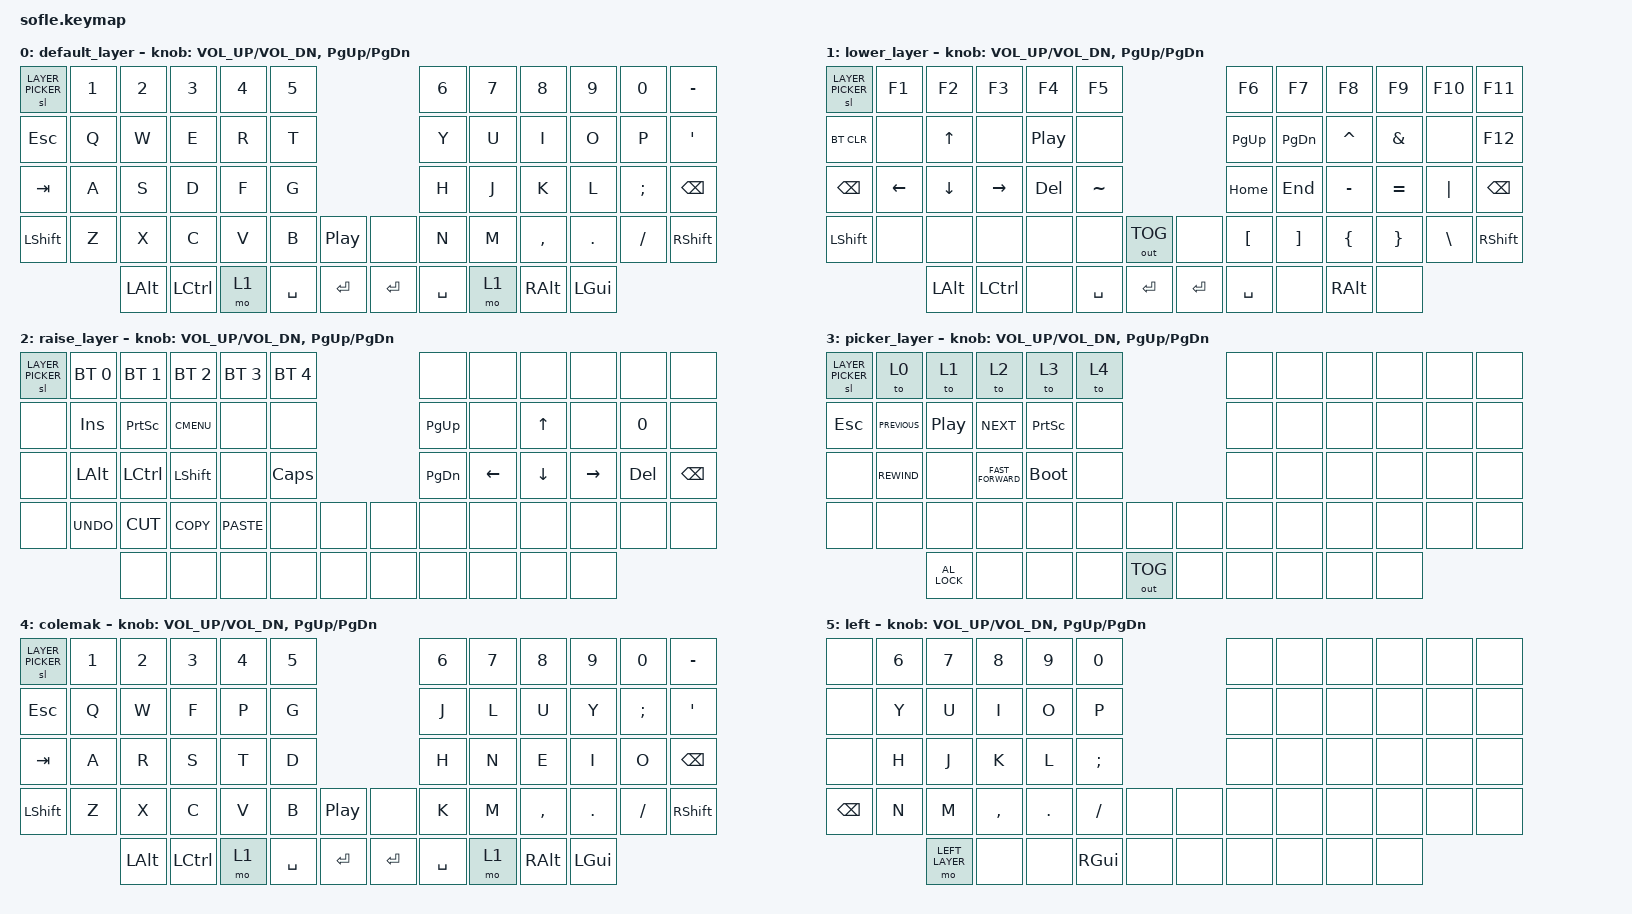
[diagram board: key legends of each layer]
/*
 * Copyright (c) 2020 The ZMK Contributors
 *
 * SPDX-License-Identifier: MIT
 */

#include <behaviors.dtsi>
#include <dt-bindings/zmk/keys.h>
#include <dt-bindings/zmk/bt.h>
#include <dt-bindings/zmk/rgb.h>
#include <dt-bindings/zmk/outputs.h>
//#include <dt-bindings/zmk/mouse.h>

#define DEFAULT 0
#define LAYER_PICKER 3
#define LEFT_LAYER 5

&sl {
    release-after-ms = <2000>;
};

/*
&mmv {
    time-to-max-speed-ms = <600>;
    acceleration-exponent = <1>;
};

&mwh {
    time-to-max-speed-ms = <2500>;
    acceleration-exponent = <0>;
};

#define U_MOUSE_MOVE_MAX 1250
#define U_MOUSE_SCROLL_MAX 12

/* // For Ipad
&mmv {
    time-to-max-speed-ms = <600>;
    acceleration-exponent = <1>;
};

&mwh {
    time-to-max-speed-ms = <500>;
    acceleration-exponent = <1>;
}; //*

 
#define U_MOUSE_MOVE_MAX 1250
#define U_MOUSE_SCROLL_MAX 30


#undef MOVE_UP
#undef MOVE_DOWN
#undef MOVE_LEFT
#undef MOVE_RIGHT
#define MOVE_UP MOVE_VERT(-U_MOUSE_MOVE_MAX)
#define MOVE_DOWN MOVE_VERT(U_MOUSE_MOVE_MAX)
#define MOVE_LEFT MOVE_HOR(-U_MOUSE_MOVE_MAX)
#define MOVE_RIGHT MOVE_HOR(U_MOUSE_MOVE_MAX)

#undef SCROLL_UP
#undef SCROLL_DOWN
#undef SCROLL_LEFT
#undef SCROLL_RIGHT
#define SCROLL_UP SCROLL_VERT(U_MOUSE_SCROLL_MAX)
#define SCROLL_DOWN SCROLL_VERT(-U_MOUSE_SCROLL_MAX)
#define SCROLL_LEFT SCROLL_HOR(-U_MOUSE_SCROLL_MAX)
#define SCROLL_RIGHT SCROLL_HOR(U_MOUSE_SCROLL_MAX)
*/

/ {
    keymap {
        compatible = "zmk,keymap";

        default_layer { // Default (0)
// ------------------------------------------------------------------------------------------------------------
// |  `    |  1  |  2  |  3   |  4   |  5   |                   |  6   |  7    |  8    |  9   |   0   |       |
// |  ESC  |  Q  |  W  |  E   |  R   |  T   |                   |  Y   |  U    |  I    |  O   |   P   | BKSPC |
// |  TAB  |  A  |  S  |  D   |  F   |  G   |                   |  H   |  J    |  K    |  L   |   ;   |   '   |
// | SHIFT |  Z  |  X  |  C   |  V   |  B   |  MUTE  |  |       |  N   |  M    |  ,    |  .   |   /   | SHIFT |
//               | GUI | ALT  | CTRL | LOWER|  ENTER |  | SPACE | RAISE| CTRL  | ALT   | GUI  |
            bindings = <
&sl LAYER_PICKER	&kp N1			&kp N2		&kp N3		&kp N4		&kp N5											&kp N6		&kp N7		&kp N8		&kp N9		&kp N0		&kp MINUS
&kp ESC				&kp Q			&kp W		&kp E		&kp R		&kp T											&kp Y		&kp U		&kp I		&kp O		&kp P		&kp SQT
&kp TAB				&kp A			&kp S		&kp D		&kp F		&kp G											&kp H		&kp J		&kp K		&kp L		&kp SEMI	&kp BSPC
&kp LSHIFT			&kp Z			&kp X		&kp C		&kp V		&kp B			&kp C_PLAY_PAUSE	&none		&kp N		&kp M		&kp COMMA	&kp DOT		&kp FSLH	&kp RSHFT
									&kp	LALT	&kp LCTRL	&mo 1		&kp SPACE		&kp RET				&kp RET		&kp SPACE	&mo 1		&kp RALT	&kp LGUI
            >;

            sensor-bindings = <&inc_dec_kp C_VOL_UP C_VOL_DN &inc_dec_kp PG_UP PG_DN>;
        };

        lower_layer { // 1
// TODO: Some binds are waiting for shifted keycode support.
// ------------------------------------------------------------------------------------------------------------
// |       |  F1 |  F2 |  F3  |  F4  |  F5  |                   |  F6  |  F7   |  F8   |  F9  |  F10  |  F11  |
// | `     |   1 |   2 |   3  |   4  |   5  |                   |   6  |   7   |   8   |   9  |    0  |  F12  |
// |       |  !  |  @  |  #   |  $   |  %   |                   |  ^   |  &    |  *    |  (   |   )   |   |   |
// |       |  =  |  -  |  +   |  {   |  }   |        |  |       |  [   |  ]    |  ;    |  :   |   \   |       |
//               |     |      |      |      |        |  |       |      |       |       |      |
            bindings = <
&sl LAYER_PICKER	&kp F1				&kp F2			&kp F3				&kp F4				&kp F5												&kp F6		&kp F7		&kp F8			&kp F9		&kp F10		&kp F11
&bt BT_CLR			&none				&kp UP			&none				&kp C_PLAY_PAUSE	&none												&kp PG_UP	&kp PG_DN	&kp CARET		&kp AMPS	&none		&kp F12
&kp BSPC			&kp LEFT			&kp DOWN		&kp RIGHT			&kp DEL				&kp	TILDE											&kp HOME	&kp END		&kp MINUS		&kp EQUAL	&kp	PIPE	&kp BSPC
&kp LSHIFT			&none				&none			&none				&none				&none			&out OUT_TOG			&none		&kp LBKT	&kp RBKT	&kp LBRC		&kp RBRC	&kp BSLH	&kp RSHFT
										&kp	LALT		&kp LCTRL			&none				&kp SPACE		&kp RET					&kp RET		&kp SPACE	&none		&kp RALT		&none
            >;

            sensor-bindings = <&inc_dec_kp C_VOL_UP C_VOL_DN &inc_dec_kp PG_UP PG_DN>;
        };

        raise_layer { // 2
// ------------------------------------------------------------------------------------------------------------
// |BTCLR| BT1  | BT2  |  BT3  |  BT4  |  BT5 |                |      |      |       |      |       |       |
// |     | INS  | PSCR | GUI   |       |      |                | PGUP |      |   ^   |      |       |       |
// |     | ALT  | CTRL | SHIFT |       | CAPS |                | PGDN |   <- |   v   |  ->  |  DEL  | BKSPC |
// |     | UNDO | CUT  | COPY  | PASTE |      |      |  |      |      |      |       |      |       |       |
//              |      |       |       |      |      |  |      |      |      |       |      |
            bindings = <
&sl LAYER_PICKER &bt BT_SEL 0 &bt BT_SEL 1 &bt BT_SEL 2 &bt BT_SEL 3 &bt BT_SEL 4             &none    &none    &none   &none    &none  &none
&none     &kp INS      &kp PSCRN    &kp K_CMENU  &none       &none                   &kp PG_UP &none    &kp UP   &none    &kp N0  &none
&none     &kp LALT     &kp LCTRL    &kp LSHFT    &none       &kp CLCK                 &kp PG_DN &kp LEFT  &kp DOWN &kp RIGHT &kp DEL &kp BSPC
&none     &kp K_UNDO   &kp K_CUT    &kp K_COPY   &kp K_PASTE  &none  &none   &none  &none    &none    &none   &none    &none  &none
                        &none       &none       &none       &none  &none   &none  &none    &none    &none   &none
            >;

            sensor-bindings = <&inc_dec_kp C_VOL_UP C_VOL_DN &inc_dec_kp PG_UP PG_DN>;
        };
		
		picker_layer { // LAYER_PICKER (3)
// ------------------------------------------------------------------------------------------------------------
// |BTCLR| BT1  | BT2  |  BT3  |  BT4  |  BT5 |                |      |      |       |      |       |       |
// |     | INS  | PSCR | GUI   |       |      |                | PGUP |      |   ^   |      |       |       |
// |     | ALT  | CTRL | SHIFT |       | CAPS |                | PGDN |   <- |   v   |  ->  |  DEL  | BKSPC |
// |     | UNDO | CUT  | COPY  | PASTE |      |      |  |      |      |      |       |      |       |       |
//              |      |       |       |      |      |  |      |      |      |       |      |
            bindings = <
&sl LAYER_PICKER	&to 0				&to 1				&to 2				&to 3				&to 4									&none	&none	&none	&none	&none	&none
&kp ESC				&kp C_PREVIOUS		&kp C_PLAY_PAUSE	&kp C_NEXT			&kp PRINTSCREEN		&none									&none	&none	&none	&none	&none	&none
&none				&kp C_REWIND		&none				&kp C_FAST_FORWARD	&bootloader			&none									&none	&none	&none	&none	&none	&none
&none				&none				&none    			&none				&none				&none			&none			&none	&none	&none	&none	&none	&none	&none
										&kp C_AL_LOCK		&none				&none				&none  	&out OUT_TOG	&none	&none	&none	&none	&none
            >;

            sensor-bindings = <&inc_dec_kp C_VOL_UP C_VOL_DN &inc_dec_kp PG_UP PG_DN>;
        };
		
		
		colemak { // COLEMAK (4)
// ------------------------------------------------------------------------------------------------------------
// |  `    |  1  |  2  |  3   |  4   |  5   |                   |  6   |  7    |  8    |  9   |   0   |       |
// |  ESC  |  Q  |  W  |  E   |  R   |  T   |                   |  Y   |  U    |  I    |  O   |   P   | BKSPC |
// |  TAB  |  A  |  S  |  D   |  F   |  G   |                   |  H   |  J    |  K    |  L   |   ;   |   '   |
// | SHIFT |  Z  |  X  |  C   |  V   |  B   |  MUTE  |  |       |  N   |  M    |  ,    |  .   |   /   | SHIFT |
//               | GUI | ALT  | CTRL | LOWER|  ENTER |  | SPACE | RAISE| CTRL  | ALT   | GUI  |
            bindings = <
&sl LAYER_PICKER	&kp N1			&kp N2		&kp N3		&kp N4		&kp N5											&kp N6		&kp N7		&kp N8		&kp N9		&kp N0		&kp MINUS
&kp ESC				&kp Q			&kp W		&kp F		&kp P		&kp G											&kp J		&kp L		&kp U		&kp Y		&kp SEMI	&kp SQT
&kp TAB				&kp A			&kp R		&kp S		&kp T		&kp D											&kp H		&kp N		&kp E		&kp I		&kp O		&kp BSPC
&kp LSHIFT			&kp Z			&kp X		&kp C		&kp V		&kp B			&kp C_PLAY_PAUSE	&none		&kp K		&kp M		&kp COMMA	&kp DOT		&kp FSLH	&kp RSHFT
									&kp	LALT	&kp LCTRL	&mo 1		&kp SPACE		&kp RET				&kp RET		&kp SPACE	&mo 1		&kp RALT	&kp LGUI
            >;

            sensor-bindings = <&inc_dec_kp C_VOL_UP C_VOL_DN &inc_dec_kp PG_UP PG_DN>;
        };
		
		left {	// LEFT (5)
// ------------------------------------------------------------------------------------------------------------
// |BTCLR| BT1  | BT2  |  BT3  |  BT4  |  BT5 |                |      |      |       |      |       |       |
// |     | INS  | PSCR | GUI   |       |      |                | PGUP |      |   ^   |      |       |       |
// |     | ALT  | CTRL | SHIFT |       | CAPS |                | PGDN |   <- |   v   |  ->  |  DEL  | BKSPC |
// |     | UNDO | CUT  | COPY  | PASTE |      |      |  |      |      |      |       |      |       |       |
//              |      |       |       |      |      |  |      |      |      |       |      |
            bindings = <

&none		&kp N6	 &kp N7			&kp N8		&kp N9		&kp N0								&none	&none	&none	&none	&none	&none
&none		&kp Y	&kp U			&kp I		&kp O		&kp P								&none	&none	&none	&none	&none	&none
&none		&kp H	&kp J			&kp K		&kp L		&kp SEMI							&none	&none	&none	&none	&none	&none
&kp BSPC	&kp N	&kp M			&kp COMMA	&kp DOT		&kp FSLH	&none			&none	&none	&none	&none	&none	&none	&none
					&mo LEFT_LAYER	&none		&none		&kp RGUI  	&none			&none	&none	&none	&none	&none
            >;

            sensor-bindings = <&inc_dec_kp C_VOL_UP C_VOL_DN &inc_dec_kp PG_UP PG_DN>;
        };
    };
};
